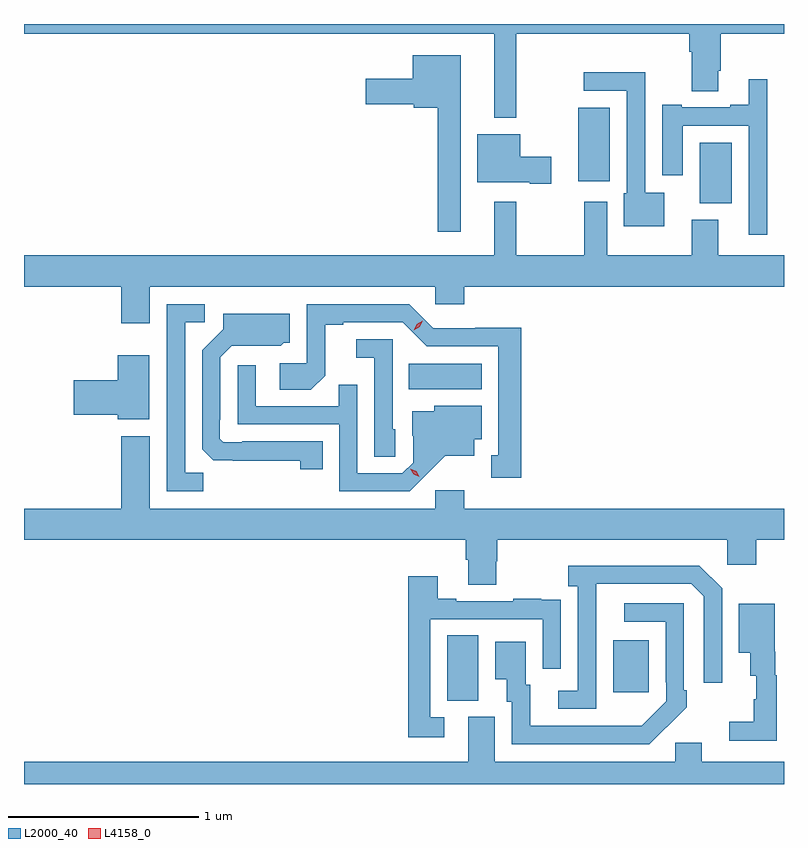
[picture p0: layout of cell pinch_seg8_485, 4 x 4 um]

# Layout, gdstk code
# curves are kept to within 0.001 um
import gdstk
lib = gdstk.Library(unit=1e-6, precision=1e-09)
def R(c, l, rs):  # rectangles x0, y0, x1, y1
    for r in rs: c.add(gdstk.rectangle(r[:2], r[2:], *l))
def P(c, l, *ps):  # polygons
    for p in ps: c.add(gdstk.Polygon(p, *l))
L2000_40 = (2000, 40)
L4158_0 = (4158, 0)

pinch_seg8_485 = lib.new_cell('pinch_seg8_485')
R(pinch_seg8_485, L2000_40, [(211.052,1136.965,211.216,1137.308), (211.925,1137.009,212.113,1137.283), (210.85,1138.604,211.234,1138.738), (212.381,1139.582,212.551,1139.902), (211.742,1139.699,211.909,1140.085)])
P(pinch_seg8_485, L2000_40, [(208.825,1140.476),(211.301,1140.476),(211.301,1140.032),(211.415,1140.032),(211.415,1140.476),(212.327,1140.476),(212.327,1140.38),(212.339,1140.38),(212.339,1140.172),(212.479,1140.172),(212.479,1140.28),(212.492,1140.28),(212.492,1140.476),(212.825,1140.476),(212.825,1140.526),(208.825,1140.526)],
  [(211.123,1140.361),(210.872,1140.361),(210.872,1140.238),(210.624,1140.238),(210.624,1140.104),(210.876,1140.104),(210.876,1140.086),(211.002,1140.086),(211.002,1139.433),(211.123,1139.433)],
  [(212.194,1139.638),(212.094,1139.638),(212.094,1140.272),(211.77,1140.272),(211.77,1140.174),(211.998,1140.174),(211.998,1139.634),(211.982,1139.634),(211.982,1139.462),(212.194,1139.462)],
  [(212.736,1140.235),(212.639,1140.235),(212.639,1140.1),(212.543,1140.1),(212.543,1140.087),(212.287,1140.087),(212.287,1140.1),(212.183,1140.1),(212.183,1139.73),(212.293,1139.73),(212.293,1139.991),(212.64,1139.991),(212.64,1139.418),(212.736,1139.418)],
  [(211.6,1139.828),(211.438,1139.828),(211.438,1139.947),(211.211,1139.947),(211.211,1139.693),(211.487,1139.693),(211.487,1139.686),(211.6,1139.686)],
  [(209.488,1139.144),(210.99,1139.144),(210.99,1139.051),(211.142,1139.051),(211.142,1139.144),(212.825,1139.144),(212.825,1139.308),(212.479,1139.308),(212.479,1139.497),(212.339,1139.497),(212.339,1139.308),(211.894,1139.308),(211.894,1139.59),(211.774,1139.59),(211.774,1139.308),(211.415,1139.308),(211.415,1139.59),(211.301,1139.59),(211.301,1139.308),(208.825,1139.308),(208.825,1139.144),(209.336,1139.144),(209.336,1138.95),(209.488,1138.95)],
  [(211.441,1138.928),(211.2,1138.928),(211.2,1138.926),(210.978,1138.926),(210.852,1139.052),(210.312,1139.052),(210.312,1138.74),(210.171,1138.74),(210.171,1138.6),(210.335,1138.6),(210.411,1138.676),(210.411,1138.944),(210.505,1138.944),(210.505,1138.956),(210.819,1138.956),(210.945,1138.83),(211.322,1138.83),(211.322,1138.257),(211.283,1138.257),(211.283,1138.137),(211.441,1138.137)],
  [(209.769,1138.163),(209.673,1138.163),(209.673,1138.956),(209.776,1138.956),(209.776,1139.052),(209.577,1139.052),(209.577,1138.068),(209.769,1138.068)],
  [(210.398,1138.329),(209.974,1138.329),(209.974,1138.326),(209.874,1138.326),(209.856,1138.344),(209.856,1138.444),(209.859,1138.444),(209.859,1138.773),(209.919,1138.833),(210.176,1138.832),(210.192,1138.848),(210.223,1138.848),(210.223,1139.002),(209.873,1139.002),(209.873,1138.92),(209.763,1138.81),(209.763,1138.288),(209.822,1138.229),(210.28,1138.228),(210.28,1138.182),(210.398,1138.182)],
  [(210.78,1138.392),(210.765,1138.392),(210.765,1138.866),(210.573,1138.866),(210.573,1138.769),(210.669,1138.769),(210.669,1138.249),(210.78,1138.249)],
  [(209.485,1138.783),(209.318,1138.783),(209.318,1138.652),(209.088,1138.652),(209.088,1138.469),(209.318,1138.469),(209.318,1138.445),(209.485,1138.445)],
  [(210.94,1138.151),(211.043,1138.253),(211.195,1138.253),(211.195,1138.34),(211.234,1138.34),(211.234,1138.516),(210.984,1138.516),(210.984,1138.489),(210.869,1138.489),(210.869,1138.36),(210.873,1138.36),(210.873,1138.218),(210.816,1138.161),(210.579,1138.161),(210.579,1138.628),(210.481,1138.628),(210.481,1138.515),(210.045,1138.515),(210.045,1138.729),(209.949,1138.729),(209.949,1138.419),(210.483,1138.419),(210.483,1138.068),(210.856,1138.068)],
  [(211.142,1138.072),(210.99,1138.072),(210.99,1137.976),(209.488,1137.976),(209.488,1138.357),(209.336,1138.357),(209.336,1137.976),(208.825,1137.976),(208.825,1137.812),(211.151,1137.812),(211.151,1137.706),(211.163,1137.706),(211.163,1137.574),(211.311,1137.574),(211.311,1137.699),(211.316,1137.699),(211.316,1137.812),(212.526,1137.812),(212.526,1137.681),(212.678,1137.681),(212.678,1137.812),(212.825,1137.812),(212.825,1137.976),(211.142,1137.976)],
  [(211.836,1137.379),(211.837,1137.579),(212.337,1137.579),(212.403,1137.513),(212.403,1137.06),(212.499,1137.06),(212.499,1137.555),(212.378,1137.676),(211.689,1137.676),(211.689,1137.566),(211.74,1137.566),(211.74,1137.018),(211.638,1137.018),(211.638,1136.922),(211.836,1136.922)],
  [(211.036,1136.877),(210.963,1136.877),(210.963,1137.393),(211.554,1137.393),(211.554,1137.132),(211.65,1137.132),(211.65,1137.386),(211.649,1137.386),(211.649,1137.495),(211.547,1137.495),(211.547,1137.502),(211.399,1137.502),(211.399,1137.489),(211.099,1137.489),(211.099,1137.502),(211.003,1137.502),(211.003,1137.619),(210.847,1137.619),(210.847,1136.772),(211.036,1136.772)],
  [(212.207,1136.827),(212.208,1136.826),(212.313,1136.931),(212.313,1137.019),(212.298,1137.019),(212.298,1137.477),(211.983,1137.477),(211.983,1137.381),(212.202,1137.381),(212.202,1137.061),(212.205,1137.061),(212.205,1136.961),(212.077,1136.833),(211.489,1136.832),(211.489,1137.048),(211.465,1137.048),(211.465,1137.274),(211.304,1137.274),(211.304,1137.077),(211.367,1137.077),(211.367,1136.958),(211.392,1136.958),(211.392,1136.736),(212.116,1136.736)],
  [(212.788,1137.099),(212.78,1137.099),(212.78,1137.222),(212.776,1137.222),(212.776,1137.475),(212.588,1137.475),(212.588,1137.218),(212.648,1137.218),(212.648,1137.095),(212.678,1137.095),(212.678,1136.973),(212.667,1136.973),(212.667,1136.853),(212.538,1136.853),(212.538,1136.754),(212.788,1136.754)],
  [(212.825,1136.644),(212.392,1136.644),(212.392,1136.742),(212.253,1136.742),(212.253,1136.644),(211.303,1136.644),(211.303,1136.88),(211.163,1136.88),(211.163,1136.644),(208.825,1136.644),(208.825,1136.526),(212.825,1136.526)])
P(pinch_seg8_485, L4158_0, [(210.875,1138.914),(210.875,1138.914),(210.892,1138.946),(210.924,1138.965),(210.924,1138.965),(210.924,1138.965),(210.907,1138.932),(210.875,1138.914)],
  [(210.906,1138.142),(210.876,1138.157),(210.858,1138.186),(210.858,1138.186),(210.858,1138.186),(210.889,1138.172),(210.906,1138.142),(210.906,1138.142)])

lib.write_gds('pinch_seg8_485.gds')
